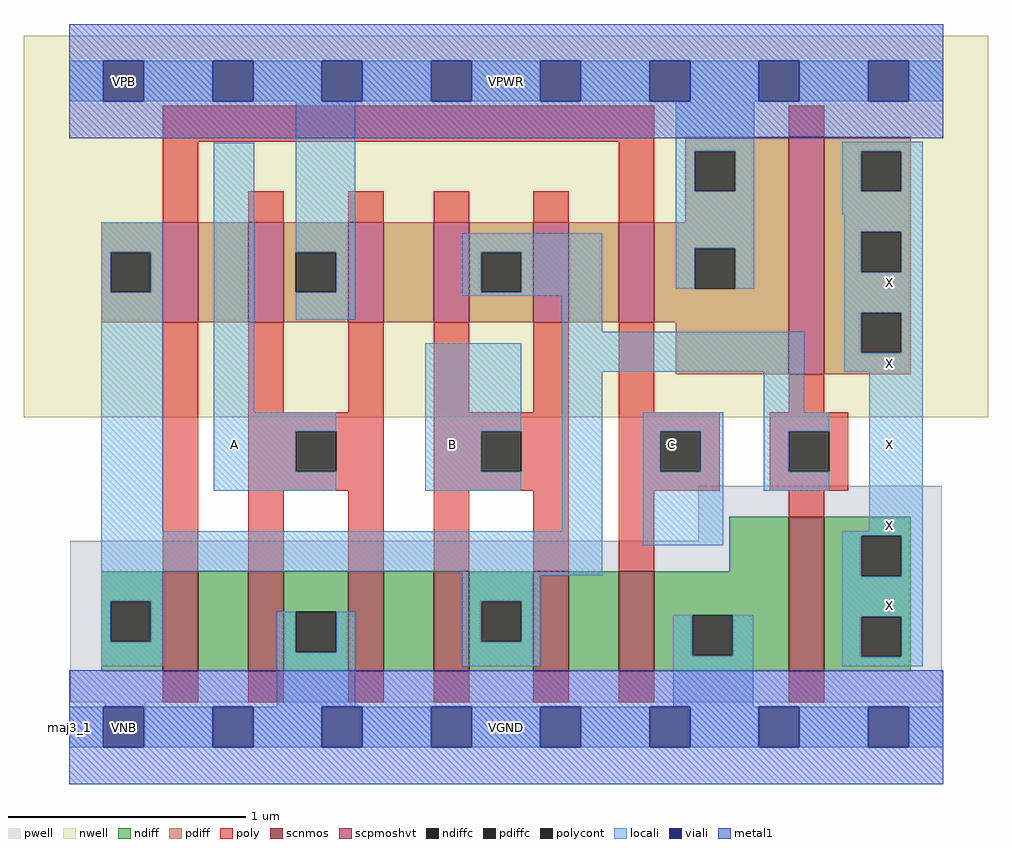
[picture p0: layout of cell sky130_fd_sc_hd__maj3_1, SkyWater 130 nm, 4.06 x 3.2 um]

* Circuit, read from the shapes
.subckt sky130_fd_sc_hd__maj3_1 A B C VGND VNB VPB VPWR X
XM1 n1 C n2 VNB sky130_fd_pr__nfet_01v8 w=0.42 l=0.15
XM2 VGND A n1 VNB sky130_fd_pr__nfet_01v8 w=0.42 l=0.15
XM3 n3 A VGND VNB sky130_fd_pr__nfet_01v8 w=0.42 l=0.15
XM4 n2 B n3 VNB sky130_fd_pr__nfet_01v8 w=0.42 l=0.15
XM5 n4 B n2 VNB sky130_fd_pr__nfet_01v8 w=0.42 l=0.15
XM6 VGND C n4 VNB sky130_fd_pr__nfet_01v8 w=0.42 l=0.15
XM7 X n2 VGND VNB sky130_fd_pr__nfet_01v8 w=0.65 l=0.15
XM8 n5 C n2 VPB sky130_fd_pr__pfet_01v8_hvt w=0.42 l=0.15
XM9 VPWR A n5 VPB sky130_fd_pr__pfet_01v8_hvt w=0.42 l=0.15
XM10 n6 A VPWR VPB sky130_fd_pr__pfet_01v8_hvt w=0.42 l=0.15
XM11 n2 B n6 VPB sky130_fd_pr__pfet_01v8_hvt w=0.42 l=0.15
XM12 n7 B n2 VPB sky130_fd_pr__pfet_01v8_hvt w=0.42 l=0.15
XM13 VPWR C n7 VPB sky130_fd_pr__pfet_01v8_hvt w=0.42 l=0.15
XM14 X n2 VPWR VPB sky130_fd_pr__pfet_01v8_hvt w=1 l=0.15
.ends

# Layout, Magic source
magic
tech sky130B
magscale 1 2
<< nwell >>
rect -38 261 774 582
<< pwell >>
rect 530 157 735 203
rect 1 21 735 157
rect 30 -17 64 21
<< scnmos >>
rect 79 47 109 131
rect 151 47 181 131
rect 235 47 265 131
rect 307 47 337 131
rect 391 47 421 131
rect 463 47 493 131
rect 606 47 636 177
<< scpmoshvt >>
rect 79 341 109 425
rect 151 341 181 425
rect 235 341 265 425
rect 307 341 337 425
rect 391 341 421 425
rect 463 341 493 425
rect 606 297 636 497
<< ndiff >>
rect 556 131 606 177
rect 27 106 79 131
rect 27 72 35 106
rect 69 72 79 106
rect 27 47 79 72
rect 109 47 151 131
rect 181 97 235 131
rect 181 63 191 97
rect 225 63 235 97
rect 181 47 235 63
rect 265 47 307 131
rect 337 106 391 131
rect 337 72 347 106
rect 381 72 391 106
rect 337 47 391 72
rect 421 47 463 131
rect 493 94 606 131
rect 493 60 525 94
rect 559 60 606 94
rect 493 47 606 60
rect 636 161 709 177
rect 636 127 667 161
rect 701 127 709 161
rect 636 93 709 127
rect 636 59 667 93
rect 701 59 709 93
rect 636 47 709 59
<< pdiff >>
rect 519 485 606 497
rect 519 451 527 485
rect 561 451 606 485
rect 519 425 606 451
rect 27 400 79 425
rect 27 366 35 400
rect 69 366 79 400
rect 27 341 79 366
rect 109 341 151 425
rect 181 400 235 425
rect 181 366 191 400
rect 225 366 235 400
rect 181 341 235 366
rect 265 341 307 425
rect 337 400 391 425
rect 337 366 347 400
rect 381 366 391 400
rect 337 341 391 366
rect 421 341 463 425
rect 493 403 606 425
rect 493 369 527 403
rect 561 369 606 403
rect 493 341 606 369
rect 511 297 606 341
rect 636 485 709 497
rect 636 451 667 485
rect 701 451 709 485
rect 636 417 709 451
rect 636 383 667 417
rect 701 383 709 417
rect 636 349 709 383
rect 636 315 667 349
rect 701 315 709 349
rect 636 297 709 315
<< ndiffc >>
rect 35 72 69 106
rect 191 63 225 97
rect 347 72 381 106
rect 525 60 559 94
rect 667 127 701 161
rect 667 59 701 93
<< pdiffc >>
rect 527 451 561 485
rect 35 366 69 400
rect 191 366 225 400
rect 347 366 381 400
rect 527 369 561 403
rect 667 451 701 485
rect 667 383 701 417
rect 667 315 701 349
<< poly >>
rect 79 493 493 523
rect 606 497 636 523
rect 79 425 109 493
rect 151 425 181 451
rect 235 425 265 451
rect 307 425 337 451
rect 391 425 421 451
rect 463 425 493 493
rect 79 131 109 341
rect 151 265 181 341
rect 235 265 265 341
rect 151 249 265 265
rect 151 215 191 249
rect 225 215 265 249
rect 151 199 265 215
rect 151 131 181 199
rect 235 131 265 199
rect 307 265 337 341
rect 391 265 421 341
rect 307 249 421 265
rect 307 215 347 249
rect 381 215 421 249
rect 307 199 421 215
rect 307 131 337 199
rect 391 131 421 199
rect 463 265 493 341
rect 606 265 636 297
rect 463 249 548 265
rect 463 215 498 249
rect 532 215 548 249
rect 463 199 548 215
rect 590 249 656 265
rect 590 215 606 249
rect 640 215 656 249
rect 590 199 656 215
rect 463 131 493 199
rect 606 177 636 199
rect 79 21 109 47
rect 151 21 181 47
rect 235 21 265 47
rect 307 21 337 47
rect 391 21 421 47
rect 463 21 493 47
rect 606 21 636 47
<< polycont >>
rect 191 215 225 249
rect 347 215 381 249
rect 498 215 532 249
rect 606 215 640 249
<< locali >>
rect 0 527 29 561
rect 63 527 121 561
rect 155 527 213 561
rect 247 527 305 561
rect 339 527 397 561
rect 431 527 489 561
rect 523 527 581 561
rect 615 527 673 561
rect 707 527 736 561
rect 27 400 79 425
rect 27 366 35 400
rect 69 366 79 400
rect 27 165 79 366
rect 122 265 156 492
rect 191 400 241 527
rect 511 485 577 527
rect 511 451 527 485
rect 561 451 577 485
rect 225 366 241 400
rect 191 343 241 366
rect 331 400 449 416
rect 331 366 347 400
rect 381 366 449 400
rect 511 403 577 451
rect 651 485 719 493
rect 651 451 667 485
rect 701 451 719 485
rect 651 432 719 451
rect 511 369 527 403
rect 561 369 577 403
rect 653 417 719 432
rect 653 383 667 417
rect 701 383 719 417
rect 331 363 449 366
rect 415 333 449 363
rect 653 349 719 383
rect 122 249 225 265
rect 122 215 191 249
rect 122 199 225 215
rect 300 249 381 323
rect 300 215 347 249
rect 300 199 381 215
rect 415 299 619 333
rect 653 315 667 349
rect 701 315 719 349
rect 653 299 719 315
rect 415 165 449 299
rect 585 265 619 299
rect 27 131 449 165
rect 483 249 551 265
rect 483 215 498 249
rect 532 215 551 249
rect 483 153 551 215
rect 585 249 640 265
rect 585 215 606 249
rect 585 199 640 215
rect 674 165 719 299
rect 651 161 719 165
rect 27 106 79 131
rect 27 72 35 106
rect 69 72 79 106
rect 331 128 449 131
rect 331 106 397 128
rect 27 51 79 72
rect 175 63 191 97
rect 225 63 241 97
rect 175 17 241 63
rect 331 72 347 106
rect 381 72 397 106
rect 651 127 667 161
rect 701 127 719 161
rect 331 51 397 72
rect 509 60 525 94
rect 559 60 576 94
rect 509 17 576 60
rect 651 93 719 127
rect 651 59 667 93
rect 701 59 719 93
rect 651 51 719 59
rect 0 -17 29 17
rect 63 -17 121 17
rect 155 -17 213 17
rect 247 -17 305 17
rect 339 -17 397 17
rect 431 -17 489 17
rect 523 -17 581 17
rect 615 -17 673 17
rect 707 -17 736 17
<< viali >>
rect 29 527 63 561
rect 121 527 155 561
rect 213 527 247 561
rect 305 527 339 561
rect 397 527 431 561
rect 489 527 523 561
rect 581 527 615 561
rect 673 527 707 561
rect 29 -17 63 17
rect 121 -17 155 17
rect 213 -17 247 17
rect 305 -17 339 17
rect 397 -17 431 17
rect 489 -17 523 17
rect 581 -17 615 17
rect 673 -17 707 17
<< metal1 >>
rect 0 561 736 592
rect 0 527 29 561
rect 63 527 121 561
rect 155 527 213 561
rect 247 527 305 561
rect 339 527 397 561
rect 431 527 489 561
rect 523 527 581 561
rect 615 527 673 561
rect 707 527 736 561
rect 0 496 736 527
rect 0 17 736 48
rect 0 -17 29 17
rect 63 -17 121 17
rect 155 -17 213 17
rect 247 -17 305 17
rect 339 -17 397 17
rect 431 -17 489 17
rect 523 -17 581 17
rect 615 -17 673 17
rect 707 -17 736 17
rect 0 -48 736 -17
<< labels >>
flabel locali s 490 221 524 255 0 FreeSans 250 0 0 0 C
port 3 nsew signal input
flabel locali s 674 85 708 119 0 FreeSans 250 0 0 0 X
port 8 nsew signal output
flabel locali s 674 153 708 187 0 FreeSans 250 0 0 0 X
port 8 nsew signal output
flabel locali s 674 221 708 255 0 FreeSans 250 0 0 0 X
port 8 nsew signal output
flabel locali s 674 289 708 323 0 FreeSans 250 0 0 0 X
port 8 nsew signal output
flabel locali s 306 221 340 255 0 FreeSans 500 0 0 0 B
port 2 nsew signal input
flabel locali s 122 221 156 255 0 FreeSans 500 0 0 0 A
port 1 nsew signal input
flabel locali s 674 357 708 391 0 FreeSans 250 0 0 0 X
port 8 nsew signal output
flabel nwell s 30 527 64 561 0 FreeSans 200 0 0 0 VPB
port 6 nsew power bidirectional
flabel pwell s 30 -17 64 17 0 FreeSans 200 0 0 0 VNB
port 5 nsew ground bidirectional
flabel metal1 s 30 -17 64 17 0 FreeSans 200 0 0 0 VGND
port 4 nsew ground bidirectional abutment
flabel metal1 s 30 527 64 561 0 FreeSans 200 0 0 0 VPWR
port 7 nsew power bidirectional abutment
rlabel comment s 0 0 0 0 4 maj3_1
rlabel metal1 s 0 -48 736 48 1 VGND
port 4 nsew ground bidirectional abutment
rlabel metal1 s 0 496 736 592 1 VPWR
port 7 nsew power bidirectional abutment
<< properties >>
string FIXED_BBOX 0 0 736 544
string GDS_END 1648850
string GDS_FILE $PDKPATH/libs.ref/sky130_fd_sc_hd/gds/sky130_fd_sc_hd.gds
string GDS_START 1642726
string LEFclass CORE
string LEFsite unithd
string LEFsymmetry X Y R90
string path 0.000 0.000 18.400 0.000 
<< end >>
